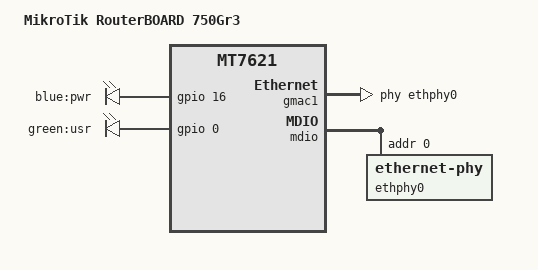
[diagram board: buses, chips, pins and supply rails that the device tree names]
// SPDX-License-Identifier: GPL-2.0-or-later OR MIT

#include "mt7621_mikrotik_routerboard-7xx.dtsi"

/ {
	compatible = "mikrotik,routerboard-750gr3", "mediatek,mt7621-soc";
	model = "MikroTik RouterBOARD 750Gr3";

	aliases {
		led-boot = &led_usr;
		led-failsafe = &led_usr;
		led-running = &led_usr;
		led-upgrade = &led_usr;
	};

	leds {
		compatible = "gpio-leds";

		pwr {
			label = "blue:pwr";
			gpios = <&gpio 16 GPIO_ACTIVE_HIGH>;
			default-state = "on";
		};

		led_usr: usr {
			label = "green:usr";
			gpios = <&gpio 0 GPIO_ACTIVE_HIGH>;
		};
	};
};

&state_default {
	gpio {
		groups = "uart2", "jtag", "wdt";
		function = "gpio";
	};
};

&gmac1 {
	status = "okay";
	label = "wan";
	phy-handle = <&ethphy0>;
};

&mdio {
	ethphy0: ethernet-phy@0 {
		reg = <0>;
	};
};

&switch0 {
	ports {
		port@0 {
			status = "disabled";
		};
	};
};
